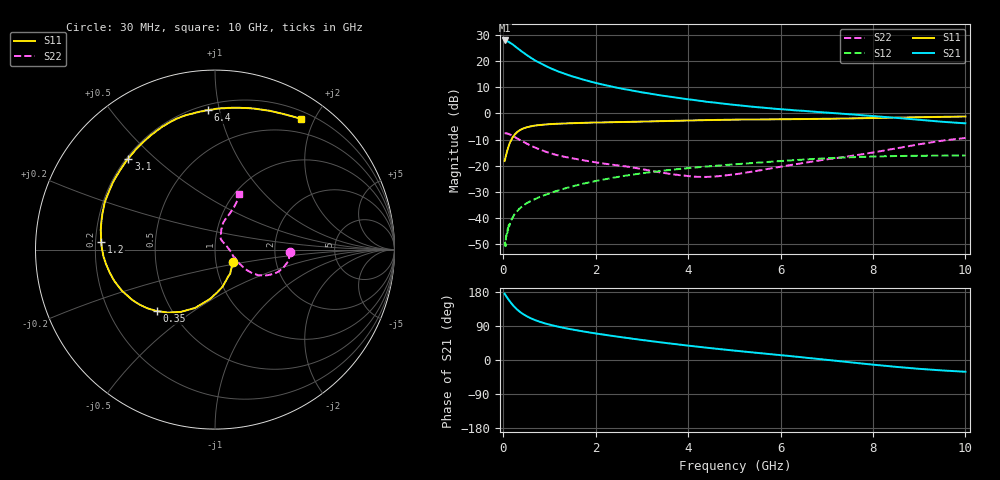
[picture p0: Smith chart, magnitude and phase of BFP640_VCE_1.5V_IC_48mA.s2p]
! Infineon Technologies  Discrete & RF Semiconductors
! BFP640
! VCE =  1.5 V,  IC =  48 mA
! Common Emitter S-Parameters:  Apr 2013
# GHz  S  MA  R  50
!  f  S11  S21  S12  S22
! GHz  MAG  ANG  MAG  ANG  MAG  ANG  MAG  ANG
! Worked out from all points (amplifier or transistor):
!   99 points, 30 MHz to 10 GHz, reference 50 ohm
!   highest |S21| = 27.9 dB at 30 MHz (marker M1)
!   |S21| within 3 dB of that: start of sweep to 311.5 MHz
!   unconditionally stable (mu >= 1): start of sweep to end of sweep
!   at 350 MHz: K = 1.38, MAG = 26.7 dB, |S12| = -36.4 dB
!   at 3.5 GHz: K = 1.45, MAG = 10.3 dB, |S12| = -21.8 dB
!   at 10 GHz: K = 1.38, MAG = 2.5 dB, |S12| = -16.1 dB
!   S11 on the Smith chart (normalised r, x): 30 MHz: 1.22, -0.17; 350 MHz: 0.41, -0.37; 1.2 GHz: 0.22, +0.03; 3.1 GHz: 0.21, +0.41; 6.4 GHz: 0.23, +0.92; 10 GHz: 0.30, +1.82
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0.03  0.1234 -33.9  24.79 174.9  0.0035 37.8  0.4173 -1.7
0.06  0.1591 -57.9  24.44 169.2  0.0045 46.4  0.4153 -5.9
0.1  0.2126 -79.1  23.79 162.1  0.0064 64.5  0.4085 -10.2
0.12  0.2403 -87.4  23.29 158.5  0.0074 58.9  0.4016 -12.0
0.2  0.3442 -109.0  20.96 145.9  0.01 58.7  0.3738 -19.2
0.25  0.3961 -118.8  19.34 139.3  0.0122 58.0  0.3549 -22.4
0.35  0.4726 -133.6  16.54 128.2  0.0151 57.7  0.3145 -27.4
0.4  0.5006 -139.4  15.25 123.6  0.0164 58.8  0.2968 -29.0
0.5  0.5397 -148.7  13.22 116.1  0.0191 56.7  0.2669 -31.2
0.6  0.5676 -156.3  11.53 109.9  0.0212 57.5  0.2411 -32.4
0.7  0.5877 -162.7  10.14 104.8  0.0233 56.8  0.2205 -32.7
0.9  0.6127 -172.5  8.236 96.7  0.0276 56.8  0.1885 -32.0
1.2  0.6359 176.3  6.288 87.6  0.0339 57.1  0.1568 -30.0
1.7  0.6587 162.2  4.506 76.1  0.0447 55.4  0.129 -24.4
2.4  0.6803 146.9  3.18 62.9  0.0595 50.9  0.1035 -17.4
3.1  0.7001 133.6  2.453 51.4  0.0736 45.8  0.0831 -2.7
3.4  0.7114 128.3  2.216 46.7  0.0794 43.4  0.0743 5.1
5.1  0.761 105.4  1.427 23.6  0.1079 29.3  0.0703 63.2
6.4  0.7779 92.9  1.133 8.0  0.1294 18.6  0.1093 71.8
6.7  0.7843 89.6  1.083 4.2  0.1343 15.8  0.1207 72.6
8.5  0.8313 68.5  0.822 -18.1  0.1532 -1.7  0.2143 67.9
10  0.872 56.7  0.646 -31.0  0.1575 -12.1  0.3389 66.6
